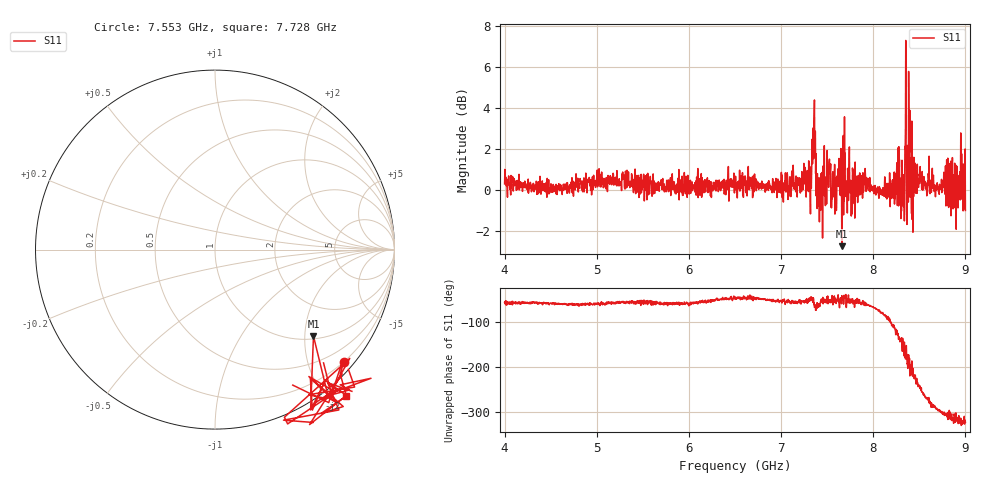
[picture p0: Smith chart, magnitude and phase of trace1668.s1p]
! Created with skrf 1.8.0 (http://scikit-rf.org).
# Hz S RI R 50.0
!freq ReS11 ImS11
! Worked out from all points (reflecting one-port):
!   1601 points, 4 GHz to 9 GHz, reference 50 ohm
!   lowest |S11| = -2.7 dB at 7.659 GHz (marker M1), VSWR 6.42, Z = 53.5 - j111 ohm
!   phase of S11 starts at -56 deg and turns -266 deg over the sweep
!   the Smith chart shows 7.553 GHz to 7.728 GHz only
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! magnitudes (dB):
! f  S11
! 4 GHz  0.3
! 4.625 GHz  -0.2
! 5.25 GHz  0.2
! 5.875 GHz  0.2
! 6.5 GHz  0.1
! 7.125 GHz  0.4
! 7.294 GHz  0.8
! 7.353 GHz  1.5
! 7.369 GHz  2.8
! 7.4 GHz  -0.2
! 7.428 GHz  0.2
! 7.512 GHz  0.9
! 7.566 GHz  -0.1
! 7.659 GHz  -2.7
! 7.691 GHz  1.0
! 7.75 GHz  -0.1
! 7.928 GHz  0.0
! 8.094 GHz  -0.2
! 8.206 GHz  -0.3
! 8.259 GHz  0.3
! 8.312 GHz  1.4
! 8.334 GHz  0.8
! 8.356 GHz  2.1
! 8.375 GHz  1.2
! 8.425 GHz  -0.2
! 8.875 GHz  -0.3
! 8.972 GHz  0.6
! 9 GHz  -1.0
